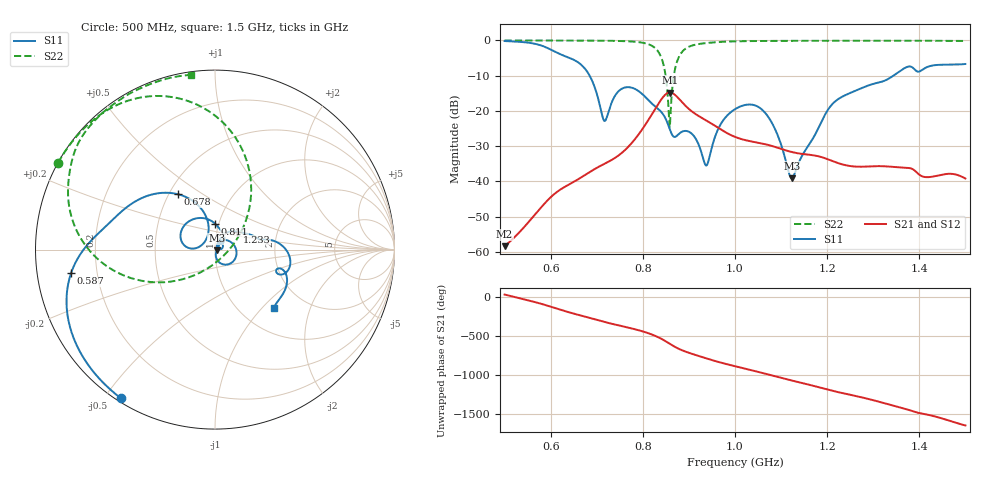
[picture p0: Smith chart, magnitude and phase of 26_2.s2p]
! TOUCHSTONE file generated by CST MICROWAVE STUDIO
! Date and time: Wed Oct 28 19:38:24 2020
! Project name: Scenario_1_Circular_Tissue_out_of_Line_v2.cst
! Parameters = {dy1=86.5; L_HA=400; MT=2.54; Rad_Dielectric=30; Rad_Lower=7.3; Rad_Upper=30; a_HA=580; a_WG=246; b_HA=500; b_WG=121; c_HA=0; c_WG=187; d_feed=85; dx1=346; h_feed=15; h_lower=18; h_upper=40}
! Header version: 2018
! Port assignment regex: !\s*Touchstone port\s*([0-9]+)\s*=\s*(CST MWS port|CST DS port)\s*([0-9]+|Zmin|Zmax)\s*\(\"(.*)\"\)(\s*mode\s*([0-9]+))?.*
! Touchstone port assignment:
! Touchstone port 1 = CST MWS port 1 ("")
! Touchstone port 2 = CST MWS port 2 ("")
# GHz S DB R 50
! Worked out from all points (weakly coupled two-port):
!   1003 points, 500 MHz to 1.5 GHz, reference 50 ohm
!   highest |S21| = -14.78 dB at 859 MHz (marker M1); lowest = -58.4 dB at 500 MHz (marker M2)
!   lowest |S11| = -39.1 dB at 1.123 GHz (marker M3), VSWR 1.02, Z = 51 - j0.46 ohm
!   |S11| at or under -10 dB: 684.5 MHz to 1.344 GHz (659.2 MHz wide, 65 % of centre)
!   |S22| runs from -24.7 to 0.0 dB; largest |S21 - S12| = 6.9e-05
!   S11 on the Smith chart (normalised r, x): 500 MHz: 0.01, -0.55; 587 MHz: 0.10, -0.08; 678 MHz: 0.56, +0.40; 811 MHz: 0.96, +0.28; 1.233 GHz: 1.25, +0.26; 1.5 GHz: 1.40, -1.17
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0.5  -0.17 -122.3  -58.39 29.0  -58.39 29.0  -0.01 151.1
0.587  -1.81 -170.7  -46.24 -103.1  -46.24 -103.1  -0.02 145.1
0.667  -7.00 135.4  -38.81 117.1  -38.81 117.1  -0.04 138.4
0.678  -8.64 123.6  -37.90 99.4  -37.90 99.4  -0.05 137.3
0.717  -22.86 143.1  -34.99 36.7  -34.99 36.7  -0.09 132.7
0.757  -13.54 155.7  -31.62 -19.5  -31.61 -19.5  -0.19 126.1
0.811  -16.80 89.9  -22.78 -105.3  -22.78 -105.3  -1.03 106.5
0.834  -19.54 67.7  -17.91 -160.3  -17.91 -160.3  -3.30 84.0
0.848  -21.85 48.7  -15.48 155.1  -15.48 155.1  -8.85 56.2
0.859  -25.38 40.2  -14.78 114.9  -14.78 114.9  -23.75 -75.5
0.868  -27.38 49.8  -15.27 83.1  -15.27 83.1  -9.39 -147.6
0.881  -26.24 52.9  -16.94 44.4  -16.94 44.4  -4.03 -173.0
0.909  -26.84 17.5  -20.40 -16.4  -20.40 -16.4  -1.37 162.5
0.938  -35.49 35.5  -22.74 -70.4  -22.74 -70.4  -0.74 151.9
0.967  -24.23 55.5  -25.10 -120.9  -25.10 -120.9  -0.44 145.7
1  -19.51 16.9  -27.37 -170.4  -27.37 -170.4  -0.26 140.4
1.066  -20.64 -61.8  -29.46 91.9  -29.46 91.9  -0.15 132.8
1.123  -39.12 -24.0  -31.66 6.3  -31.66 6.3  -0.11 127.7
1.167  -28.30 53.9  -32.54 -57.8  -32.54 -57.8  -0.10 124.2
1.233  -15.95 38.8  -35.18 -155.2  -35.18 -155.2  -0.08 119.1
1.334  -10.81 11.4  -35.80 59.2  -35.80 59.2  -0.08 111.5
1.5  -6.69 -45.0  -39.19 149.3  -39.17 149.6  -0.14 98.0
